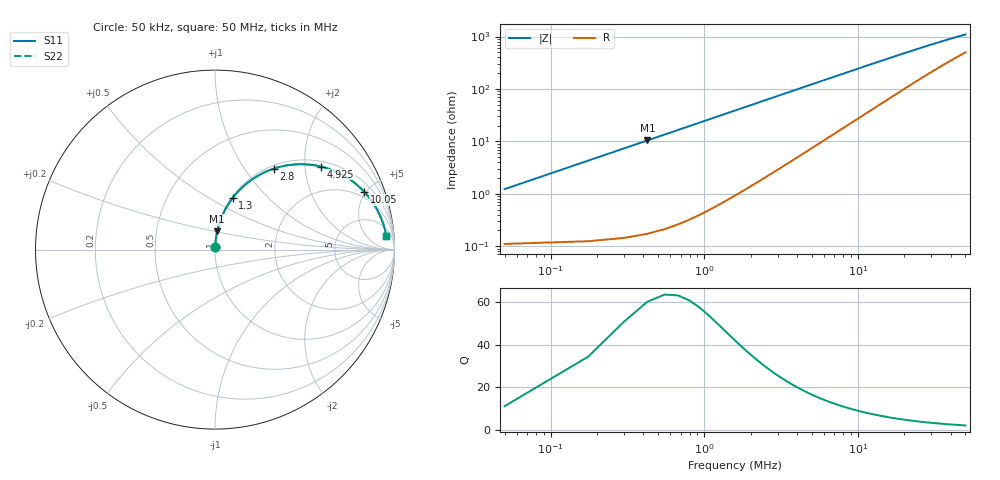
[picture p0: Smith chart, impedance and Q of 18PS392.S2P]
! Coilcraft 1812PS-392 Power Chip Inductor
! 1 October 2002
# MHZ S MA R 50
!Freq  MagS11  AngS11  MagS21  AngS21  MagS12  AngS12  MagS22  AngS22
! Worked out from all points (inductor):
!   401 points, 50 kHz to 50 MHz, reference 50 ohm
!   read as one part in series: L = 3.91 uH near 300 kHz
!   highest Q = 57.7 at 425 kHz (marker M1), where L = 3.91 uH
!   S11 on the Smith chart (normalised r, x): 50 kHz: 1.00, +0.02; 1.3 MHz: 1.01, +0.64; 2.8 MHz: 1.05, +1.38; 4.925 MHz: 1.14, +2.42; 10.05 MHz: 1.55, +4.89; 50 MHz: 11, +20
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0.05  0.01229 84.1  0.9988 -0.7  0.9988 -0.7  0.01229 84.1
0.175  0.04283 85.9  0.9978 -2.5  0.9978 -2.5  0.04283 85.9
0.425  0.1036 83.1  0.9929 -5.9  0.9929 -5.9  0.1036 83.1
0.55  0.1336 81.4  0.9889 -7.7  0.9889 -7.7  0.1336 81.4
0.675  0.1633 79.7  0.984 -9.4  0.984 -9.4  0.1633 79.7
0.8  0.1924 78.0  0.9782 -11.1  0.9782 -11.1  0.1924 78.0
1.05  0.249 74.5  0.9639 -14.4  0.9639 -14.4  0.249 74.5
1.3  0.3029 71.2  0.9467 -17.6  0.9467 -17.6  0.3029 71.2
1.55  0.3538 67.9  0.9271 -20.7  0.9271 -20.7  0.3538 67.9
1.925  0.4238 63.4  0.8942 -25.1  0.8942 -25.1  0.4238 63.4
2.8  0.558 54.0  0.8095 -33.9  0.8095 -33.9  0.558 54.0
3.675  0.6558 46.4  0.7251 -40.9  0.7251 -40.9  0.6558 46.4
4.925  0.7495 38.1  0.6188 -48.4  0.6188 -48.4  0.7495 38.1
6.55  0.8216 30.6  0.5106 -55.0  0.5106 -55.0  0.8216 30.6
8.425  0.8681 24.7  0.4201 -59.8  0.4201 -59.8  0.8681 24.7
10.05  0.8921 21.1  0.3625 -62.4  0.3625 -62.4  0.8921 21.1
12.925  0.9167 16.7  0.2907 -65.2  0.2907 -65.2  0.9167 16.7
16.8  0.9333 13.0  0.2291 -66.7  0.2291 -66.7  0.9333 13.0
25.05  0.9476 8.8  0.1588 -66.4  0.1588 -66.4  0.9476 8.8
33.425  0.9531 6.6  0.1225 -64.2  0.1225 -64.2  0.9531 6.6
41.675  0.9558 5.3  0.1013 -61.5  0.1013 -61.5  0.9558 5.3
50  0.9573 4.5  0.08722 -58.5  0.08722 -58.5  0.9573 4.5
